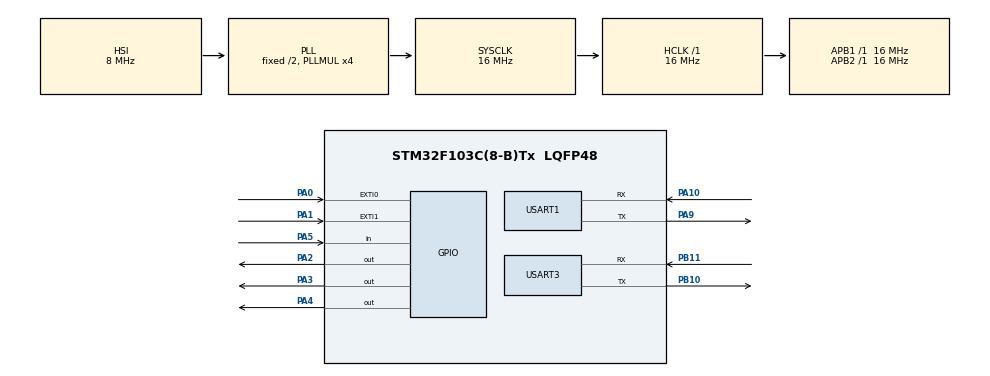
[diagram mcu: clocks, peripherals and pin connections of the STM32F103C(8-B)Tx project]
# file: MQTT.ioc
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Dma.Request0=USART1_RX
Dma.Request1=USART1_TX
Dma.Request2=USART3_RX
Dma.Request3=USART3_TX
Dma.USART1_RX.0.Direction=DMA_PERIPH_TO_MEMORY
Dma.USART1_RX.0.Instance=DMA1_Channel5
Dma.USART1_RX.0.MemDataAlignment=DMA_MDATAALIGN_BYTE
Dma.USART1_RX.0.MemInc=DMA_MINC_ENABLE
Dma.USART1_RX.0.Mode=DMA_NORMAL
Dma.USART1_RX.0.PeriphDataAlignment=DMA_PDATAALIGN_BYTE
Dma.USART1_RX.0.PeriphInc=DMA_PINC_DISABLE
Dma.USART1_RX.0.Priority=DMA_PRIORITY_LOW
Dma.USART1_TX.1.Direction=DMA_MEMORY_TO_PERIPH
Dma.USART1_TX.1.Instance=DMA1_Channel4
Dma.USART1_TX.1.MemDataAlignment=DMA_MDATAALIGN_BYTE
Dma.USART1_TX.1.MemInc=DMA_MINC_ENABLE
Dma.USART1_TX.1.Mode=DMA_NORMAL
Dma.USART1_TX.1.PeriphDataAlignment=DMA_PDATAALIGN_BYTE
Dma.USART1_TX.1.PeriphInc=DMA_PINC_DISABLE
Dma.USART1_TX.1.Priority=DMA_PRIORITY_LOW
Dma.USART3_RX.2.Direction=DMA_PERIPH_TO_MEMORY
Dma.USART3_RX.2.Instance=DMA1_Channel3
Dma.USART3_RX.2.MemDataAlignment=DMA_MDATAALIGN_BYTE
Dma.USART3_RX.2.MemInc=DMA_MINC_ENABLE
Dma.USART3_RX.2.Mode=DMA_NORMAL
Dma.USART3_RX.2.PeriphDataAlignment=DMA_PDATAALIGN_BYTE
Dma.USART3_RX.2.PeriphInc=DMA_PINC_DISABLE
Dma.USART3_RX.2.Priority=DMA_PRIORITY_LOW
Dma.USART3_TX.3.Direction=DMA_MEMORY_TO_PERIPH
Dma.USART3_TX.3.Instance=DMA1_Channel2
Dma.USART3_TX.3.MemDataAlignment=DMA_MDATAALIGN_BYTE
Dma.USART3_TX.3.MemInc=DMA_MINC_ENABLE
Dma.USART3_TX.3.Mode=DMA_NORMAL
Dma.USART3_TX.3.PeriphDataAlignment=DMA_PDATAALIGN_BYTE
Dma.USART3_TX.3.PeriphInc=DMA_PINC_DISABLE
Dma.USART3_TX.3.Priority=DMA_PRIORITY_LOW
Mcu.Family=STM32F1
Mcu.Name=STM32F103C(8-B)Tx
Mcu.Package=LQFP48
NVIC.DMA1_Channel2_IRQn=true\:0\:0\:false\:false\:true\:false\:true\:true
NVIC.DMA1_Channel3_IRQn=true\:0\:0\:false\:false\:true\:false\:true\:true
NVIC.DMA1_Channel4_IRQn=true\:0\:0\:false\:false\:true\:false\:true\:true
NVIC.DMA1_Channel5_IRQn=true\:0\:0\:false\:false\:true\:false\:true\:true
NVIC.EXTI0_IRQn=true\:0\:0\:false\:false\:true\:true\:true\:true
NVIC.EXTI1_IRQn=true\:0\:0\:false\:false\:true\:true\:true\:true
NVIC.PriorityGroup=NVIC_PRIORITYGROUP_4
NVIC.TIM4_IRQn=true\:0\:0\:false\:false\:true\:true\:true\:true
NVIC.USART1_IRQn=true\:0\:0\:false\:false\:true\:false\:true\:true
NVIC.USART3_IRQn=true\:0\:0\:false\:false\:true\:false\:true\:true
PA0-WKUP.GPIO_ModeDefaultEXTI=GPIO_MODE_IT_RISING_FALLING
PA0-WKUP.GPIO_PuPd=GPIO_PULLUP
PA0-WKUP.Signal=GPXTI0
PA1.GPIO_ModeDefaultEXTI=GPIO_MODE_IT_RISING_FALLING
PA1.GPIO_PuPd=GPIO_PULLUP
PA1.Signal=GPXTI1
PA10.Mode=Asynchronous
PA10.Signal=USART1_RX
PA13.Mode=Serial_Wire
PA13.Signal=SYS_JTMS-SWDIO
PA14.Mode=Serial_Wire
PA14.Signal=SYS_JTCK-SWCLK
PA2.Signal=GPIO_Output
PA3.Signal=GPIO_Output
PA4.Signal=GPIO_Output
PA5.Signal=GPIO_Input
PA9.Mode=Asynchronous
PA9.Signal=USART1_TX
PB10.Mode=Asynchronous
PB10.Signal=USART3_TX
PB11.Mode=Asynchronous
PB11.Signal=USART3_RX
ProjectManager.HeapSize=0x200
ProjectManager.StackSize=0x400
ProjectManager.TargetToolchain=MDK-ARM V5.32
RCC.AHBFreq_Value=16000000
RCC.APB1Freq_Value=16000000
RCC.APB1TimFreq_Value=16000000
RCC.APB2Freq_Value=16000000
RCC.APB2TimFreq_Value=16000000
RCC.HCLKFreq_Value=16000000
RCC.PLLMUL=RCC_PLL_MUL4
RCC.SYSCLKFreq_VALUE=16000000
RCC.SYSCLKSource=RCC_SYSCLKSOURCE_PLLCLK
RCC.USBFreq_Value=16000000
TIM4.Prescaler=3999
USART1.VirtualMode=VM_ASYNC
USART3.VirtualMode=VM_ASYNC
VP_TIM4_VS_ClockSourceINT.Mode=Internal
board=custom

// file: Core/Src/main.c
/* USER CODE BEGIN Header */
/**
  ******************************************************************************
  * @file           : main.c
  * @brief          : Main program body
  ******************************************************************************
  * @attention
  *
  * Copyright (c) 2025 STMicroelectronics.
  * All rights reserved.
  *
  * This software is licensed under terms that can be found in the LICENSE file
  * in the root directory of this software component.
  * If no LICENSE file comes with this software, it is provided AS-IS.
  *
  ******************************************************************************
  */
/* USER CODE END Header */
#include "main.h"

/* USER CODE BEGIN Includes */
#include <math.h>
#include "DHT.h"
#include "cJSON.h"
#include <stdio.h>
#include <stdlib.h>
#include <string.h>
#include <stdint.h>
#include <stdbool.h>
#include "stdarg.h"
/* USER CODE END Includes */

TIM_HandleTypeDef htim4;

UART_HandleTypeDef huart1;
UART_HandleTypeDef huart3;
DMA_HandleTypeDef hdma_usart1_rx;
DMA_HandleTypeDef hdma_usart1_tx;
DMA_HandleTypeDef hdma_usart3_rx;
DMA_HandleTypeDef hdma_usart3_tx;

void SystemClock_Config(void);
static void MX_GPIO_Init(void);
static void MX_DMA_Init(void);
static void MX_USART1_UART_Init(void);
static void MX_USART3_UART_Init(void);
static void MX_TIM4_Init(void);
/* USER CODE BEGIN PFP */
void SettingESP(void);
void CheckSettingESP(void);
void Connect_To_HiveMQ();
void Publish(char *pub , float ND , unsigned int DA, float docadc , unsigned int TB1,  unsigned int TB2, unsigned int C1, unsigned int C2);
void Sub(void);
void ChangeMode(void);
int  Send_AT_Commands_Setting(const char *AT_Commands, const char *DataResponse, uint32_t timeout_ms, uint32_t setting);
int  Send_AT_Commands_SendMessager(char *AT_Commands, char *DataResponse , uint32_t timeout);

void UART_ClearBuffer(uint8_t buffer_select);
void UART_Receive_Enable(UART_HandleTypeDef *huart, uint8_t *pData, uint16_t Size);
void UART_Receive_Disable(UART_HandleTypeDef *huart);
void UART1_Handle_MQTT_json(const char* uart_data, char *Topic);
void UART1_Handle_MQTT_json_TEST(const char* uart_data, char *Topic);
void UART2_Handle_Command(void);

void CleanJsonString(char* input);

float my_atof(const char *str);

void Send_Data(uint8_t Slave_Address, uint8_t Function, uint16_t SA, uint16_t NP);
void Read_Holding_Reg(uint8_t *Rx_Buff);
void Preset_Multiple_Reg(uint8_t *Rx_Buff);
void Preset_Single_Reg(uint8_t *Rx_Buff);
uint16_t ComputeCRC(uint8_t *pData, int length);
bool CheckCRC(uint8_t *buffer, uint16_t length);
/* USER CODE END PFP */

/* USER CODE BEGIN 0 */
/*===	DEFINE	===*/
#define Modbus_Inf					0
#define MQTT_Inf						1
#define Debug_ON						1
#define Debug_OFF					0

#define MAX_BUFFER 					512
#define MAX_DATA 						512
#define DELAY_CONFIG				1000
#define COMMAND_TIMEOUT_MS 	1000
#define MAX_RETRY_COUNT 			 5
#define CLEAR_UART1_BUFFER 	0x01
#define CLEAR_UART2_BUFFER 	0x02

#define 	STM_ID  									0x01
#define 	Read_Holding_Registers 		0x03
#define 	Preset_Single_Register 		0x06
#define 	Preset_Multiple_Register 	0x10
#define 	Run_but 									0
#define 	Stop_but 									1
#define 	Temp_Reg 									2
#define 	Hum_Reg 									3
#define 	LED_RED 									7
#define 	LED_GREEN 								8
#define 	LED_YELLOW 								9
#define 	LED_FULL 									10
#define		LED_ON										GPIO_PIN_RESET
#define		LED_OFF										GPIO_PIN_SET
#define		PRESSED										GPIO_PIN_RESET

#define		RED_GPIO_Port							GPIOA
#define		RED_Pin										GPIO_PIN_4
#define		YELLOW_GPIO_Port					GPIOA
#define		YELLOW_Pin								GPIO_PIN_3
#define		GREEN_GPIO_Port						GPIOA
#define		GREEN_Pin									GPIO_PIN_2

#define		Run_GPIO_Port							GPIOA
#define		Run_Pin										GPIO_PIN_0
#define		Stop_GPIO_Port						GPIOA
#define		Stop_Pin									GPIO_PIN_1
/*===	VARIABLES	===*/
uint8_t led_select[4] = {0};
GPIO_TypeDef* ports[] = { RED_GPIO_Port, YELLOW_GPIO_Port, GREEN_GPIO_Port, GPIOC };
uint16_t pins[]       = { RED_Pin, YELLOW_Pin, GREEN_Pin, GPIO_PIN_13 };

float 		temp 					= 0;
uint8_t 	Debug 				= Debug_OFF;
uint8_t 	Mode 					= MQTT_Inf;
volatile uint8_t 	UART2_flag 		= 0;
volatile uint8_t	UART1_flag 		= 0;
uint8_t		retry_count 	= 0;
uint8_t 	SettingOK 		= 0;
uint8_t 	ErrorCode 		= 0;
uint16_t	hum 					= 0;
uint32_t 	last;
volatile uint8_t uart_dma_busy = 0;

DHT_DataTypedef DHT11_Data;
float Temperature, Humidity;

char Rx_buffer_1[MAX_BUFFER];
char Rx_buffer_2[MAX_BUFFER];
char DataSendAT[MAX_DATA];
char CheckConfig[MAX_DATA];
char TxData_MQTT[MAX_DATA];
char SubTopic[MAX_DATA] = "son_Rx";
char PubTopic[MAX_DATA] = "son_Tx";

typedef struct {
    char *command;
    char *expected_response;
    uint32_t timeout_ms;
} AT_Command;
typedef struct {
    const char *command;
    void (*handler)(void);
} CommandEntry;
const CommandEntry LAP_CMD[] = {
    { "Setting ESP" , SettingESP },
		{ "Check Setting ESP", CheckSettingESP },
		{ "MQTT", 	ChangeMode },
		{ "Modbus", ChangeMode },
		{ "Start Debug", ChangeMode },
		{ "Stop Debug", ChangeMode },

		{ "Sub", Sub },
    { NULL, NULL } // Terminator
		//{"Start measuring", StartSend},
};
typedef struct {
    float ND;
    uint16_t DA;
		float docadc;
    uint16_t TB1;
    uint16_t TB2;
    uint16_t C1;
    uint16_t C2;
} STM32_Data;
STM32_Data DataToTx_Data;

uint8_t 	buffer;
uint8_t 	index = 0;

uint8_t 	rx_Data[MAX_BUFFER] 	= {0};
uint8_t 	tx_Data[MAX_BUFFER] 	= {0};
char 			debug_Data[MAX_BUFFER] 	= {0};
uint16_t 	STM32_Reg[MAX_BUFFER] = {0};

uint8_t		check = 0, cnt = 0;
uint16_t 	pre_Size = 0;
unsigned int 	TB2_val		= 0;

// update
volatile uint8_t uart2_tx_done = 1;

/*===	FUNCTION	===*/
struct  _FILE{
  int handle;

};

FILE __stdout;
static uint8_t dma_busy = 0;

int fputc(int ch, FILE *f) {
    static uint8_t tx_byte;  // Bi?n tinh gi? byte c?n truy?n
    tx_byte = (uint8_t)ch;

    // �?i n?u UART dang b?n truy?n DMA tru?c d�
    while (HAL_UART_GetState(&huart3) == HAL_UART_STATE_BUSY_TX) {}

    // G?i byte qua UART b?ng DMA
    HAL_UART_Transmit_DMA(&huart3, &tx_byte, 1);

    // �?i DMA truy?n xong byte n�y (n?u b?n mu?n d?ng b? ho�n to�n)
    while (HAL_UART_GetState(&huart3) == HAL_UART_STATE_BUSY_TX) {}

    return ch;
}

void ChangeMode(void){
	if(strstr(Rx_buffer_2, "MQTT")) 				Mode = MQTT_Inf;
	else if(strstr(Rx_buffer_2, "Modbus")) 	Mode = Modbus_Inf;
	else if(strstr(Rx_buffer_2, "Start Debug")) 	Debug = Debug_ON;
	else if(strstr(Rx_buffer_2, "Stop Debug")) 		Debug = Debug_OFF;
	UART_ClearBuffer(CLEAR_UART2_BUFFER);
}
int Send_AT_Commands_Setting(const char *AT_Commands, const char *DataResponse, uint32_t timeout_ms, uint32_t setting) {
    uint32_t ConfigAT = setting;
    retry_count = 0;

    snprintf(DataSendAT, sizeof(DataSendAT), "%s\r\n", AT_Commands);

    while (retry_count < MAX_RETRY_COUNT) {
        HAL_UART_Transmit(&huart1, (uint8_t *)DataSendAT, strlen(DataSendAT), COMMAND_TIMEOUT_MS);

        snprintf(debug_Data, sizeof(debug_Data), "Send AT Command (%d/%d): %s",
                 retry_count + 1, MAX_RETRY_COUNT, DataSendAT);
        HAL_UART_Transmit_DMA(&huart3, (uint8_t *)debug_Data, strlen(debug_Data));

        uint32_t wait_start = HAL_GetTick();
        while ((HAL_GetTick() - wait_start) < timeout_ms) {
            if (strstr(Rx_buffer_1, DataResponse) != NULL) {
                snprintf(debug_Data, sizeof(debug_Data), "Received response: %s\r\n", DataResponse);
                HAL_UART_Transmit_DMA(&huart3, (uint8_t *)debug_Data, strlen(debug_Data));

                UART_ClearBuffer(CLEAR_UART1_BUFFER);
                return 1;
            }
            HAL_Delay(10);
        }

        snprintf(debug_Data, sizeof(debug_Data), "Received response: %s\r\n", Rx_buffer_1);
        HAL_UART_Transmit_DMA(&huart3, (uint8_t *)debug_Data, strlen(debug_Data));

        retry_count++;
    }

    snprintf(debug_Data, sizeof(debug_Data), "Failed to apply settings after %d retries\r\n", MAX_RETRY_COUNT);
    HAL_UART_Transmit_DMA(&huart3, (uint8_t *)debug_Data, strlen(debug_Data));

    return 0;
}

int Send_AT_Commands_SendMessager(char *AT_Commands, char *DataResponse , uint32_t timeout){
    retry_count = 0;
    char DataHTTP[MAX_BUFFER];
		memset(DataHTTP, 0, sizeof(DataHTTP));
		snprintf(DataHTTP, sizeof(DataHTTP),"%s\r\n", AT_Commands);
    while (retry_count < MAX_RETRY_COUNT) {
        HAL_UART_Transmit_DMA(&huart1, (uint8_t *)DataHTTP, strlen(DataHTTP));

        if(Debug) {
						snprintf(debug_Data, sizeof(debug_Data), "Send AT Command (%d/%d): %s", retry_count + 1, MAX_RETRY_COUNT, DataHTTP);
						HAL_UART_Transmit_DMA(&huart3, (uint8_t *)debug_Data, strlen(debug_Data));
				}
        uint32_t wait_start = HAL_GetTick();
        while ((HAL_GetTick() - wait_start) < timeout) {
            if (strstr(Rx_buffer_1, DataResponse) != NULL) {
								if(Debug) {
										snprintf(debug_Data, sizeof(debug_Data), "Received response: %s\r\n", DataResponse);
										HAL_UART_Transmit_DMA(&huart3, (uint8_t *)debug_Data, strlen(debug_Data));
								}
                UART_ClearBuffer(CLEAR_UART1_BUFFER);
                return 1;
            }
            HAL_Delay(10); // Gi?m CPU usage
        }
        if(Debug) {
						snprintf(debug_Data, sizeof(debug_Data), "Received response: %s\r\n", Rx_buffer_1);
						HAL_UART_Transmit_DMA(&huart3, (uint8_t *)debug_Data, strlen(debug_Data));
				}
        retry_count++;
    }
    if(Debug) {
				snprintf(debug_Data, sizeof(debug_Data), "Failed to send MQTT message after %d retries!!!\n", MAX_RETRY_COUNT);
				HAL_UART_Transmit_DMA(&huart3, (uint8_t *)debug_Data, strlen(debug_Data));
		}
		return 0;
}

void UART1_Handle_MQTT_json(const char* uart_data, char *Topic) {
		if (strstr(uart_data, Topic) == NULL) return;
		const char* json_start = strchr(uart_data, '{');
    char* json_end = strrchr(uart_data, '}');
    if (!json_start || !json_end || json_end <= json_start) {
				strcpy(debug_Data, "[Failed] Data doesn't have JSON!\n");
				HAL_UART_Transmit_DMA(&huart3, (uint8_t *)debug_Data, strlen(debug_Data));
        return;
    }
    int json_len = json_end - json_start + 1;
    if (json_len >= MAX_DATA) {
				strcpy(debug_Data, "[Failed] JSON too long!\n");
				HAL_UART_Transmit_DMA(&huart3, (uint8_t *)debug_Data, strlen(debug_Data));
        return;
    }
    char json_buffer[MAX_DATA];
    strncpy(json_buffer, json_start, json_len);
    json_buffer[json_len] = '\0';
    CleanJsonString(json_buffer);
    cJSON* root = cJSON_Parse(json_buffer);
    if (!root) {
				strcpy(debug_Data, "[Failed] Parse JSON Failed\n");
				HAL_UART_Transmit_DMA(&huart3, (uint8_t *)debug_Data, strlen(debug_Data));
				cJSON_Delete(root);
        return;
    }
		const char* keys[]  = { "TB2"};
		HAL_GPIO_WritePin(GPIOB, GPIO_PIN_1, GPIO_PIN_SET);
		GPIO_TypeDef* ports[] = { RED_GPIO_Port, YELLOW_GPIO_Port, GREEN_GPIO_Port, GPIOC };
		uint16_t pins[]     = { RED_Pin, YELLOW_Pin, GREEN_Pin, GPIO_PIN_13 };
		size_t num_leds = sizeof(pins) / sizeof(pins[0]);
		cJSON* item = cJSON_GetObjectItemCaseSensitive(root, keys[0]);
		if (item && cJSON_IsString(item) && item->valuestring != NULL) {
			TB2_val = (unsigned int)atoi(item->valuestring);
			for (size_t i = 0; i < num_leds; i++) {
				if (TB2_val & (1 << i)) {
					HAL_GPIO_WritePin(ports[i], pins[i], LED_ON);
				}
				else {
					HAL_GPIO_WritePin(ports[i], pins[i], LED_OFF);
				}
			}
		}
		else {
			// optional: x? l� l?i, v� d? b?t LED d? c?nh b�o
		}
		cJSON_Delete(root);
		return;
//		if (strstr(uart_data, Topic) == NULL) return;

//		const char* json_start = strchr(uart_data, '{');
//    char* json_end = strrchr(uart_data, '}');
//    if (!json_start || !json_end || json_end <= json_start) {
//        printf("[Failed] Data doesn't have JSON!\n");
//        return;
//    }

//    int json_len = json_end - json_start + 1;
//    if (json_len >= MAX_DATA) {
//        printf("[Failed] JSON too long!\n");
//        return;
//    }

//    char json_buffer[MAX_DATA];
//    strncpy(json_buffer, json_start, json_len);
//    json_buffer[json_len] = '\0';

//    CleanJsonString(json_buffer);
//    cJSON* root = cJSON_Parse(json_buffer);
//    if (!root) {
//        printf("[Failed] Parse JSON Failed: %s\n", cJSON_GetErrorPtr());
//				cJSON_Delete(root);
//        return;
//    }
////		char* json_str = cJSON_Print(root);  // ho?c cJSON_PrintUnformatted(root);
////		if (json_str) {
////				HAL_UART_Transmit_DMA(&huart3, (uint8_t *)json_str, strlen(json_str));
////				free(json_str);  // nh? free sau khi d�ng xong
////		}

//		const char* keys[]  = { "L1", "L2", "L3", "L4" ,"LED1", "LED2", "LED3", "LED4"};
//		GPIO_TypeDef* ports[] = { RED_GPIO_Port, YELLOW_GPIO_Port, GREEN_GPIO_Port, GPIOC };
//		uint16_t pins[]     = { RED_Pin, YELLOW_Pin, GREEN_Pin, GPIO_PIN_13 };

//		for (int i = 0; i < sizeof(keys) / sizeof(keys[0]); i++) {
//				cJSON* item = cJSON_GetObjectItemCaseSensitive(root, keys[i]);
//				if (item && cJSON_IsString(item)) {
//						if (strcmp(item->valuestring, "ON") == 0) {
//								HAL_GPIO_WritePin(ports[i], pins[i], LED_ON);
//						} else {
//								HAL_GPIO_WritePin(ports[i], pins[i], LED_OFF);
//						}
//				}
//		}
//		cJSON_Delete(root);
//		return;

//    const char* keys[] = { "ND", "DA", "docadc", "TB1", "TB2", "C1", "C2" };

//    for (int i = 0; i < sizeof(keys) / sizeof(keys[0]); i++) {
//        cJSON* item = cJSON_GetObjectItemCaseSensitive(root, keys[i]);
//        if (item != NULL) {
//            if (cJSON_IsString(item)) {
//                printf("%s = %s\n", keys[i], item->valuestring);
//                if      (strcmp(keys[i], "ND") == 0)      DataToTx_Data.ND     = atof(item->valuestring);
//                else if (strcmp(keys[i], "DA") == 0)      DataToTx_Data.DA     = (uint16_t)atoi(item->valuestring);
//                else if (strcmp(keys[i], "docadc") == 0)  DataToTx_Data.docadc = atof(item->valuestring);
//                else if (strcmp(keys[i], "TB1") == 0)     DataToTx_Data.TB1    = (uint16_t)atoi(item->valuestring);
//                else if (strcmp(keys[i], "TB2") == 0)     DataToTx_Data.TB2    = (uint16_t)atoi(item->valuestring);
//                else if (strcmp(keys[i], "C1") == 0)      DataToTx_Data.C1     = (uint16_t)atoi(item->valuestring);
//                else if (strcmp(keys[i], "C2") == 0)      DataToTx_Data.C2     = (uint16_t)atoi(item->valuestring);
//            }
//						else if (cJSON_IsNumber(item)) {
//                printf("%s = %f\n", keys[i], item->valuedouble);
//                if      (strcmp(keys[i], "ND") == 0)      DataToTx_Data.ND     = (float)item->valuedouble;
//                else if (strcmp(keys[i], "DA") == 0)      DataToTx_Data.DA     = (uint16_t)item->valuedouble;
//                else if (strcmp(keys[i], "docadc") == 0)  DataToTx_Data.docadc = (float)item->valuedouble;
//                else if (strcmp(keys[i], "TB1") == 0)     DataToTx_Data.TB1    = (uint16_t)item->valuedouble;
//                else if (strcmp(keys[i], "TB2") == 0)     DataToTx_Data.TB2    = (uint16_t)item->valuedouble;
//                else if (strcmp(keys[i], "C1") == 0)      DataToTx_Data.C1     = (uint16_t)item->valuedouble;
//                else if (strcmp(keys[i], "C2") == 0)      DataToTx_Data.C2     = (uint16_t)item->valuedouble;
//            }
//        }
//				else {
//            printf("Key %s not found in JSON\n", keys[i]);
//        }
//    }
//		printf("ND: %.2f, DA: %d, docadc: %.2f, TB1: %d, TB2: %d, C1: %d, C2: %d\n",
//           DataToTx_Data.ND, DataToTx_Data.DA, DataToTx_Data.docadc,
//           DataToTx_Data.TB1, DataToTx_Data.TB2, DataToTx_Data.C1, DataToTx_Data.C2);
}
char mode_start[] = "OK";
void UART2_Handle_Command(void) {
    char *trimmed = strtok((char *)Rx_buffer_2, "\r\n");
    for (const CommandEntry *cmd = LAP_CMD; cmd->command != NULL; cmd++) {
        if (trimmed && strcmp(trimmed, cmd->command) == 0) {
            if (cmd->handler) {
                cmd->handler();
            }
            break;
        }
    }
    UART_ClearBuffer(CLEAR_UART2_BUFFER);
}
void UART_ClearBuffer(uint8_t buffer_select){
    if(buffer_select & CLEAR_UART1_BUFFER) {
        memset(Rx_buffer_1, 0, sizeof(Rx_buffer_1));
        __HAL_UART_FLUSH_DRREGISTER(&huart1);
    }

    if(buffer_select & CLEAR_UART2_BUFFER) {
        memset(Rx_buffer_2, 0, sizeof(Rx_buffer_2));
        __HAL_UART_FLUSH_DRREGISTER(&huart3);
    }
}
void UART_Receive_Enable(UART_HandleTypeDef *huart, uint8_t *pData, uint16_t Size){
    HAL_UARTEx_ReceiveToIdle_DMA(huart, pData, Size);
    __HAL_DMA_DISABLE_IT(huart->hdmarx, DMA_IT_HT | DMA_IT_TC);
}
//void UART_Receive_Disable(UART_HandleTypeDef *huart){
//    // D?ng DMA nh?n
//    HAL_UART_DMAStop(huart);
//
//    // T?t t?t c? ng?t DMA
//    __HAL_DMA_DISABLE_IT(huart->hdmarx, DMA_IT_HT | DMA_IT_TC | DMA_IT_TE | DMA_IT_FE | DMA_IT_DME);
//
//    // Reset c? ng?t
//    __HAL_DMA_CLEAR_FLAG(huart->hdmarx, __HAL_DMA_GET_HT_FLAG_INDEX(huart->hdmarx));
//    __HAL_DMA_CLEAR_FLAG(huart->hdmarx, __HAL_DMA_GET_TC_FLAG_INDEX(huart->hdmarx));
//
////    printf("UART%d RX DMA interrupts disabled\n", (huart->Instance == USART1) ? 1 : 2);
//}
void HAL_UARTEx_RxEventCallback(UART_HandleTypeDef *huart, uint16_t Size){
    if (huart->Instance == USART1)
    {
        UART_Receive_Enable(&huart1, (uint8_t *)Rx_buffer_1, MAX_BUFFER);
				if(SettingOK == 1 && ErrorCode == 1) {
					if(strstr(Rx_buffer_1, "+MQTTSUBRECV")){
						UART1_flag = 1;
						UART2_flag = 0;
					}
				}
    }
    else if (huart->Instance == USART3)
    {

				if(Mode == MQTT_Inf){
						UART_Receive_Enable(&huart3, (uint8_t *)Rx_buffer_2, MAX_BUFFER);
						UART1_flag = 0;
						UART2_flag = 1;
						return;
				}
				UART_Receive_Enable(&huart3, (uint8_t *)rx_Data, MAX_BUFFER);
				pre_Size = Size;
				uint8_t func = rx_Data[1];
				switch(func){
						case Read_Holding_Registers:
								if (Size == 8) Read_Holding_Reg(rx_Data);
								break;

						case Preset_Single_Register:
								if (Size == 8){
										uint16_t reg_add = (rx_Data[2] << 8) | rx_Data[3];
										STM32_Reg[reg_add] = (rx_Data[4] << 8) | rx_Data[5];

										// Update LEDs from LED_FULL register
										uint8_t led = STM32_Reg[LED_FULL];
										HAL_GPIO_WritePin(RED_GPIO_Port, RED_Pin,     (led & 0x04) ? LED_ON : LED_OFF);
										HAL_GPIO_WritePin(YELLOW_GPIO_Port, YELLOW_Pin, (led & 0x02) ? LED_ON : LED_OFF);
										HAL_GPIO_WritePin(GREEN_GPIO_Port, GREEN_Pin, (led & 0x01) ? LED_ON : LED_OFF);

										Preset_Single_Reg(rx_Data);
								}
								break;

						case Preset_Multiple_Register: {
								uint16_t start_add = (rx_Data[2] << 8) | rx_Data[3];
								uint16_t quantity  = (rx_Data[4] << 8) | rx_Data[5];

								if ((start_add + quantity) <= MAX_BUFFER){
										for (uint16_t i = 0; i < quantity; i++){
												STM32_Reg[start_add + i] = (rx_Data[7 + i*2] << 8) | rx_Data[7 + i*2 + 1];
										}

										// Update individual LEDs
										HAL_GPIO_WritePin(RED_GPIO_Port, RED_Pin,     STM32_Reg[LED_RED] ? LED_ON : LED_OFF);
										HAL_GPIO_WritePin(GREEN_GPIO_Port, GREEN_Pin, STM32_Reg[LED_GREEN] ? LED_ON : LED_OFF);
										HAL_GPIO_WritePin(YELLOW_GPIO_Port, YELLOW_Pin, STM32_Reg[LED_YELLOW] ? LED_ON : LED_OFF);

										Preset_Multiple_Reg(rx_Data);
								}
								break;
						}

						default:
								ChangeMode();
								break;
				}
    }

}
void SettingESP(void){
	HAL_TIM_Base_Stop_IT(&htim4);
	const AT_Command commands[] = {
				// Reset & Connect Wifi
        {"AT+RST", "OK", 10000},
        {"AT", "OK", 2000},
        {"ATE0", "OK", 2000},
        {"AT+CWMODE=1", "OK", 2000},
        {"AT+CWJAP=\"DONG SON\",\"05041901\"", "WIFI CONNECTED", 10000},
        {"AT+CIPMUX=0", "OK", 2000},
				// Connect Broker
//				{"AT+MQTTCONNCFG=0,60,0,\"son_Tx\",\"Disconnected\",0,0", "OK", 3000},
				{"AT+MQTTUSERCFG=0,2,\"ESP32\",\"dongson\",\"Son12345\",0,0,\"\"", "OK", 3000},
				{"AT+MQTTCONN=0,\"584e8806f87e44a8971effe122bc6789.s1.eu.hivemq.cloud\",8883,0", "MQTTCONNECTED", 3000},
				// Sub Topic son_Tx
				{"AT+MQTTSUB=0,\"son_Rx\",0", "OK", 2000},
        {NULL, NULL, 0}
    };
    ErrorCode = 0;
		SettingOK = 0;

    for (int i = 0; commands[i].command != NULL; i++) {
        if (!Send_AT_Commands_Setting(commands[i].command, commands[i].expected_response, commands[i].timeout_ms, 0)) return;
        HAL_Delay(DELAY_CONFIG);
    }
		ErrorCode = 1;
		SettingOK = 1;
		HAL_TIM_Base_Start_IT(&htim4);
}
void CheckSettingESP(void){
		HAL_TIM_Base_Stop_IT(&htim4);
		const AT_Command commands[] = {
				// Connect Wifi?
        {"AT+CWJAP?", "OK", 10000},
				// Connect Broker?
				{"AT+MQTTCONN?", "OK", 3000},
				// Sub Topic son_Tx
				{"AT+MQTTSUB?", "OK", 2000},
        {NULL, NULL, 0} // K?t th�c danh s�ch
    };
    ErrorCode = 0;
		SettingOK = 0;
    for (int i = 0; commands[i].command != NULL; i++) {
        if (!Send_AT_Commands_Setting(commands[i].command, commands[i].expected_response, commands[i].timeout_ms, 0)) {
						return; // D?ng n?u c� l?i
        }
        HAL_Delay(DELAY_CONFIG);
    }
		ErrorCode = 1;
		SettingOK = 1;
		UART_ClearBuffer(CLEAR_UART1_BUFFER);
		UART_ClearBuffer(CLEAR_UART2_BUFFER);
		HAL_TIM_Base_Start_IT(&htim4);
}
void Connect_To_HiveMQ(){
	const AT_Command commands[] = {
		{"AT+MQTTCLEAN=0", "OK", 10000},
    // L?nh c?u h�nh MQTT (d� s?a tham s? t? 5 th�nh 2 v� th�m c�c tham s? cu?i)
    {"AT+MQTTUSERCFG=0,2,\"ESP32\",\"dongson\",\"Son12345\",0,0,\"\"", "OK", 3000},

    // L?nh k?t n?i MQTT v?i broker (HiveMQ) - gi? nguy�n
    {"AT+MQTTCONN=0,\"584e8806f87e44a8971effe122bc6789.s1.eu.hivemq.cloud\",8883,0", "OK", 3000},

    {NULL, NULL, 0} // K?t th�c danh s�ch
};

    for (int i = 0; commands[i].command != NULL; i++) {
        if (!Send_AT_Commands_Setting(commands[i].command, commands[i].expected_response, commands[i].timeout_ms, 0)) {
						return; // D?ng n?u c� l?i
        }
        HAL_Delay(DELAY_CONFIG);
    }
		return;
}

void Publish(char *pub, float ND, unsigned int DA, float docadc, unsigned int TB1, unsigned int TB2, unsigned int C1, unsigned int C2) {
    char JSON_Data[MAX_DATA];
    memset(JSON_Data, 0, sizeof(JSON_Data));
    snprintf(JSON_Data, sizeof(JSON_Data),
             "{\"ND\":\"%.2f\",\"DA\":\"%u\",\"docadc\":\"%.2f\",\"TB1\":\"%u\",\"TB2\":\"%u\",\"C1\":\"%u\",\"C2\":\"%u\"}",
             ND, DA, docadc, TB1, TB2, C1, C2);

    snprintf(TxData_MQTT, sizeof(TxData_MQTT),
             "AT+MQTTPUBRAW=0,\"%s\",%lu,0,0", pub, (unsigned long)strlen(JSON_Data));

    if(Send_AT_Commands_SendMessager(TxData_MQTT, "OK", 5000))Send_AT_Commands_SendMessager(JSON_Data, "+MQTTPUB:OK", 5000);
}

void Sub(void){
		const AT_Command commands[] = {
				// L?nh publish MQTT v?i payload JSON (d� s?a)
				{"AT+MQTTSUB=0,\"son_Rx\",0", "OK", 1000},

				// C�c l?nh kh�c gi? nguy�n...
				{NULL, NULL, 0} // K?t th�c danh s�ch
		};

    for (int i = 0; commands[i].command != NULL; i++) {
        if (!Send_AT_Commands_Setting(commands[i].command, commands[i].expected_response, commands[i].timeout_ms, 0)) {
						return; // D?ng n?u c� l?i
        }
        HAL_Delay(DELAY_CONFIG);
    }
		return;
}
void CleanJsonString(char* input){
    char* src = input;
    char* dst = input;

    while (*src)
    {
        if (*src >= 32 && *src <= 126)  // Gi? k� t? ASCII in du?c
        {
            *dst++ = *src;
        }
        src++;
    }
    *dst = '\0'; // k?t th�c chu?i
}

//=======================================================================
/*=== SLAVE	===*/
void Read_Holding_Reg(uint8_t *Rx_Buff){
	tx_Data[0] = STM_ID;
	tx_Data[1] = Read_Holding_Registers;
	tx_Data[2] = Rx_Buff[5] * 2;
	uint8_t index_tx = 3;
	for(uint16_t i = 0; i < Rx_Buff[5]; i++){
		tx_Data[index_tx++] 			= (STM32_Reg[i] >> 8) & 0xFF;
		tx_Data[index_tx++] 			= (STM32_Reg[i] >> 0) & 0xFF;
	}

	uint8_t len 		= 3 + Rx_Buff[5]*2;
	uint16_t crc 		= ComputeCRC(tx_Data, len);
	tx_Data[len]   	= crc & 0xFF;
	tx_Data[len+1] 	= (crc >> 8) & 0xFF;

	HAL_UART_Transmit(&huart3, tx_Data, len+2, 1000);
//	HAL_UART_Transmit_DMA(&huart3, Send, 8);
}
void Preset_Multiple_Reg(uint8_t *Rx_Buff){
	for (uint8_t i = 0; i < 6; i++)
        tx_Data[i] = Rx_Buff[i];
	uint16_t crc = ComputeCRC(tx_Data, 6);
	tx_Data[6]   = crc & 0xFF;         // CRC Low byte
	tx_Data[6+1] = (crc >> 8) & 0xFF;  // CRC High byte
	HAL_UART_Transmit(&huart3, tx_Data, 8, 1000);
//	HAL_UART_Transmit_DMA(&huart3, Send, 8);
}
void Preset_Single_Reg(uint8_t *Rx_Buff){
	for (uint8_t i = 0; i < 4; i++)
        tx_Data[i] = Rx_Buff[i];
	uint16_t reg_add = (Rx_Buff[2] << 8) | Rx_Buff[3];  // Modbus: b?t d?u t? 1
	tx_Data[4] 		= (STM32_Reg[reg_add]>>8)&0xFF;
	tx_Data[5] 		= (STM32_Reg[reg_add]>>0)&0xFF;
	uint16_t crc 	= ComputeCRC(tx_Data, 6);
	tx_Data[6]   	= crc & 0xFF;         // CRC Low byte
	tx_Data[7] 		= (crc >> 8) & 0xFF;  // CRC High byte
	HAL_UART_Transmit(&huart3, tx_Data, 8, 1000);
//	HAL_UART_Transmit_DMA(&huart3, Send, 8);
}
uint16_t ComputeCRC(uint8_t *pData, int length){
    uint16_t crc = 0xFFFF;
    for (int pos = 0; pos < length; pos++)
    {
        crc ^= pData[pos];
        for (int i = 0; i < 8; i++)
        {
            if (crc & 0x0001)
                crc = (crc >> 1) ^ 0xA001;
            else
                crc >>= 1;
        }
    }
    return crc;
}

bool CheckCRC(uint8_t *buffer, uint16_t length){
    if (buffer == NULL || length < 3)
        return false; // Kh?ng d? d? li?u d? c? CRC

    // CRC nh?n du?c (2 byte cu?i)
    uint16_t crc_rx = buffer[length - 2] | (buffer[length - 1] << 8);

    // CRC t?nh l?i tr?n to?n b? ph?n data tr? 2 byte CRC cu?i
    uint16_t crc_calc = ComputeCRC(buffer, length - 2);

    return crc_rx == crc_calc;
}
float button = 0;
void HAL_GPIO_EXTI_Callback(uint16_t GPIO_Pin){
		static unsigned long last_INT = 0;
    if (HAL_GetTick() - last_INT < 200) return;
		if(GPIO_Pin == Run_Pin) {
				if(HAL_GPIO_ReadPin(Run_GPIO_Port, GPIO_Pin) == PRESSED){
						STM32_Reg[Run_but] = 1;
						button++;
						DataToTx_Data.TB1 = button;
				}
				else {
						STM32_Reg[Run_but] = 0;
						if(button > 0) button--;
						DataToTx_Data.TB1 = button;
				}
		}
		else if(GPIO_Pin == Stop_Pin) {
				if(HAL_GPIO_ReadPin(Stop_GPIO_Port, GPIO_Pin) == PRESSED){
						STM32_Reg[Stop_but] = 1;
						button += 2;
						DataToTx_Data.TB1 = button;
				}
				else {
						STM32_Reg[Stop_but] = 0;
						if(button > 1) button -= 2;
						DataToTx_Data.TB1 = button;
				}
		}
		last_INT = HAL_GetTick();
}
void Measure_Temp(float *STM_Temp) {
    uint16_t temp_raw = rand() % 100;
    uint16_t divisor = (rand() % 9) + 1;
    *STM_Temp = (float)temp_raw / divisor;
		STM32_Reg[Temp_Reg] = 	*STM_Temp;
}
void Measure_Hum(uint16_t *STM_Hum) {
    uint16_t hum = rand() % 50;
    *STM_Hum = hum;
		STM32_Reg[Hum_Reg] = 	*STM_Hum;
}

uint8_t TimeToReadDHT11 = 0;
void HAL_TIM_PeriodElapsedCallback(TIM_HandleTypeDef *htim){
	if(htim == &htim4){
		TimeToReadDHT11++;
		if(TimeToReadDHT11 == 3){
//			DHT_GetData(&DHT11_Data);
//			Temperature = DHT11_Data.Temperature;
//			Humidity = DHT11_Data.Humidity;
//			STM32_Reg[Hum_Reg] = Humidity;
//			STM32_Reg[Temp_Reg] = Temperature;
//			DataToTx_Data.ND = Temperature;
//			DataToTx_Data.DA = Humidity;
			TimeToReadDHT11 = 0;
			float 	  temp = 0;
			uint16_t	hum = 0;
			Measure_Temp(&temp);
			Measure_Hum(&hum);
			STM32_Reg[Hum_Reg] = hum;
			STM32_Reg[Temp_Reg] = (uint16_t)temp;
			DataToTx_Data.ND = temp;
			DataToTx_Data.DA = hum;
		}
	}
}
/* USER CODE END 0 */

int main(void)
{

  /* MCU Configuration--------------------------------------------------------*/

  /* Reset of all peripherals, Initializes the Flash interface and the Systick. */
  HAL_Init();

  /* Configure the system clock */
  SystemClock_Config();

  /* Initialize all configured peripherals */
  MX_GPIO_Init();
  MX_DMA_Init();
  MX_USART1_UART_Init();
  MX_USART3_UART_Init();
  MX_TIM4_Init();

  /* Infinite loop */
  /* USER CODE BEGIN WHILE */
	UART_Receive_Enable(&huart1, (uint8_t *)Rx_buffer_1, MAX_BUFFER);
	UART_Receive_Enable(&huart3, (uint8_t *)Rx_buffer_2, MAX_BUFFER);
	uint32_t Local_Time = HAL_GetTick();
	DataToTx_Data.TB1 = 1;
	//HAL_Delay(5000);
	//SettingESP();
  while (1)
  {
		#if 1
		HAL_Delay(1);
		if(HAL_GetTick() - Local_Time > 500){
				//DataToTx_Data.TB1 = rand()%8;
				if(SettingOK && ErrorCode)Publish(PubTopic, DataToTx_Data.ND, DataToTx_Data.DA, DataToTx_Data.docadc, DataToTx_Data.TB1, DataToTx_Data.TB2, DataToTx_Data.C1, DataToTx_Data.C2);
				Local_Time = HAL_GetTick();
		}
		else{
				#if 1
				if(UART2_flag == 1){
						UART2_Handle_Command();
						UART2_flag = 0;
				}
				else if(UART1_flag == 1){
						UART1_Handle_MQTT_json(Rx_buffer_1, SubTopic);
						UART1_flag = 0;
				}
				#endif
		}
		#endif
    /* USER CODE END WHILE */

  }
}

void SystemClock_Config(void)
{
  RCC_OscInitTypeDef RCC_OscInitStruct = {0};
  RCC_ClkInitTypeDef RCC_ClkInitStruct = {0};

  /** Initializes the RCC Oscillators according to the specified parameters
  * in the RCC_OscInitTypeDef structure.
  */
  RCC_OscInitStruct.OscillatorType = RCC_OSCILLATORTYPE_HSI;
  RCC_OscInitStruct.HSIState = RCC_HSI_ON;
  RCC_OscInitStruct.HSICalibrationValue = RCC_HSICALIBRATION_DEFAULT;
  RCC_OscInitStruct.PLL.PLLState = RCC_PLL_ON;
  RCC_OscInitStruct.PLL.PLLSource = RCC_PLLSOURCE_HSI_DIV2;
  RCC_OscInitStruct.PLL.PLLMUL = RCC_PLL_MUL4;
  if (HAL_RCC_OscConfig(&RCC_OscInitStruct) != HAL_OK)
  {
    Error_Handler();
  }

  /** Initializes the CPU, AHB and APB buses clocks
  */
  RCC_ClkInitStruct.ClockType = RCC_CLOCKTYPE_HCLK|RCC_CLOCKTYPE_SYSCLK
                              |RCC_CLOCKTYPE_PCLK1|RCC_CLOCKTYPE_PCLK2;
  RCC_ClkInitStruct.SYSCLKSource = RCC_SYSCLKSOURCE_PLLCLK;
  RCC_ClkInitStruct.AHBCLKDivider = RCC_SYSCLK_DIV1;
  RCC_ClkInitStruct.APB1CLKDivider = RCC_HCLK_DIV1;
  RCC_ClkInitStruct.APB2CLKDivider = RCC_HCLK_DIV1;

  if (HAL_RCC_ClockConfig(&RCC_ClkInitStruct, FLASH_LATENCY_0) != HAL_OK)
  {
    Error_Handler();
  }
}

static void MX_TIM4_Init(void)
{

  TIM_ClockConfigTypeDef sClockSourceConfig = {0};
  TIM_MasterConfigTypeDef sMasterConfig = {0};

  htim4.Instance = TIM4;
  htim4.Init.Prescaler = 3999;
  htim4.Init.CounterMode = TIM_COUNTERMODE_UP;
  htim4.Init.Period = 65535;
  htim4.Init.ClockDivision = TIM_CLOCKDIVISION_DIV1;
  htim4.Init.AutoReloadPreload = TIM_AUTORELOAD_PRELOAD_DISABLE;
  if (HAL_TIM_Base_Init(&htim4) != HAL_OK)
  {
    Error_Handler();
  }
  sClockSourceConfig.ClockSource = TIM_CLOCKSOURCE_INTERNAL;
  if (HAL_TIM_ConfigClockSource(&htim4, &sClockSourceConfig) != HAL_OK)
  {
    Error_Handler();
  }
  sMasterConfig.MasterOutputTrigger = TIM_TRGO_RESET;
  sMasterConfig.MasterSlaveMode = TIM_MASTERSLAVEMODE_DISABLE;
  if (HAL_TIMEx_MasterConfigSynchronization(&htim4, &sMasterConfig) != HAL_OK)
  {
    Error_Handler();
  }

}

static void MX_USART1_UART_Init(void)
{

  huart1.Instance = USART1;
  huart1.Init.BaudRate = 115200;
  huart1.Init.WordLength = UART_WORDLENGTH_8B;
  huart1.Init.StopBits = UART_STOPBITS_1;
  huart1.Init.Parity = UART_PARITY_NONE;
  huart1.Init.Mode = UART_MODE_TX_RX;
  huart1.Init.HwFlowCtl = UART_HWCONTROL_NONE;
  huart1.Init.OverSampling = UART_OVERSAMPLING_16;
  if (HAL_UART_Init(&huart1) != HAL_OK)
  {
    Error_Handler();
  }

}

static void MX_USART3_UART_Init(void)
{

  huart3.Instance = USART3;
  huart3.Init.BaudRate = 115200;
  huart3.Init.WordLength = UART_WORDLENGTH_8B;
  huart3.Init.StopBits = UART_STOPBITS_1;
  huart3.Init.Parity = UART_PARITY_NONE;
  huart3.Init.Mode = UART_MODE_TX_RX;
  huart3.Init.HwFlowCtl = UART_HWCONTROL_NONE;
  huart3.Init.OverSampling = UART_OVERSAMPLING_16;
  if (HAL_UART_Init(&huart3) != HAL_OK)
  {
    Error_Handler();
  }

}

static void MX_DMA_Init(void)
{

  /* DMA controller clock enable */
  __HAL_RCC_DMA1_CLK_ENABLE();

  /* DMA interrupt init */
  /* DMA1_Channel2_IRQn interrupt configuration */
  HAL_NVIC_SetPriority(DMA1_Channel2_IRQn, 0, 0);
  HAL_NVIC_EnableIRQ(DMA1_Channel2_IRQn);
  /* DMA1_Channel3_IRQn interrupt configuration */
  HAL_NVIC_SetPriority(DMA1_Channel3_IRQn, 0, 0);
  HAL_NVIC_EnableIRQ(DMA1_Channel3_IRQn);
  /* DMA1_Channel4_IRQn interrupt configuration */
  HAL_NVIC_SetPriority(DMA1_Channel4_IRQn, 0, 0);
  HAL_NVIC_EnableIRQ(DMA1_Channel4_IRQn);
  /* DMA1_Channel5_IRQn interrupt configuration */
  HAL_NVIC_SetPriority(DMA1_Channel5_IRQn, 0, 0);
  HAL_NVIC_EnableIRQ(DMA1_Channel5_IRQn);

}

static void MX_GPIO_Init(void)
{
  GPIO_InitTypeDef GPIO_InitStruct = {0};

  /* GPIO Ports Clock Enable */
  __HAL_RCC_GPIOA_CLK_ENABLE();
  __HAL_RCC_GPIOB_CLK_ENABLE();

  /*Configure GPIO pin Output Level */
  HAL_GPIO_WritePin(GPIOA, GPIO_PIN_2|GPIO_PIN_3|GPIO_PIN_4, GPIO_PIN_RESET);

  /*Configure GPIO pins : PA0 PA1 */
  GPIO_InitStruct.Pin = GPIO_PIN_0|GPIO_PIN_1;
  GPIO_InitStruct.Mode = GPIO_MODE_IT_RISING_FALLING;
  GPIO_InitStruct.Pull = GPIO_PULLUP;
  HAL_GPIO_Init(GPIOA, &GPIO_InitStruct);

  /*Configure GPIO pins : PA2 PA3 PA4 */
  GPIO_InitStruct.Pin = GPIO_PIN_2|GPIO_PIN_3|GPIO_PIN_4;
  GPIO_InitStruct.Mode = GPIO_MODE_OUTPUT_PP;
  GPIO_InitStruct.Pull = GPIO_NOPULL;
  GPIO_InitStruct.Speed = GPIO_SPEED_FREQ_LOW;
  HAL_GPIO_Init(GPIOA, &GPIO_InitStruct);

  /*Configure GPIO pin : PA5 */
  GPIO_InitStruct.Pin = GPIO_PIN_5;
  GPIO_InitStruct.Mode = GPIO_MODE_INPUT;
  GPIO_InitStruct.Pull = GPIO_NOPULL;
  HAL_GPIO_Init(GPIOA, &GPIO_InitStruct);

  /* EXTI interrupt init*/
  HAL_NVIC_SetPriority(EXTI0_IRQn, 0, 0);
  HAL_NVIC_EnableIRQ(EXTI0_IRQn);

  HAL_NVIC_SetPriority(EXTI1_IRQn, 0, 0);
  HAL_NVIC_EnableIRQ(EXTI1_IRQn);

}

void Error_Handler(void)
{
  __disable_irq();
  while (1)
  {
  }
}
